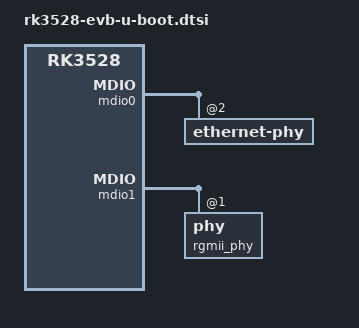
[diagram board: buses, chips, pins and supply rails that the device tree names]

&otp {
	u-boot,dm-pre-reloc;
};

&macphy_bgs {
	u-boot,dm-pre-reloc;
};

&macphy_txlevel {
	u-boot,dm-pre-reloc;
};

&gmac0 {
	u-boot,dm-pre-reloc;
};

&mdio0 {
	u-boot,dm-pre-reloc;
	ethernet-phy@2 {
		u-boot,dm-pre-reloc;
	};
};

&gmac0_stmmac_axi_setup {
	u-boot,dm-pre-reloc;
};

&gmac0_mtl_rx_setup {
	u-boot,dm-pre-reloc;
	queue0 {
		u-boot,dm-pre-reloc;
	};
};

&gmac0_mtl_tx_setup {
	u-boot,dm-pre-reloc;
	queue0 {
		u-boot,dm-pre-reloc;
	};
};

&fephym0_led_link {
	u-boot,dm-pre-reloc;
};

&fephym0_led_spd {
	u-boot,dm-pre-reloc;
};

&gmac1 {
	u-boot,dm-pre-reloc;
};

&mdio1 {
	u-boot,dm-pre-reloc;
	rgmii_phy: phy@1 {
		u-boot,dm-pre-reloc;
	};
};

&rgmii_miim {
	u-boot,dm-pre-reloc;
};

&rgmii_tx_bus2 {
	u-boot,dm-pre-reloc;
};

&rgmii_rx_bus2 {
	u-boot,dm-pre-reloc;
};

&rgmii_rgmii_clk {
	u-boot,dm-pre-reloc;
};

&rgmii_rgmii_bus {
	u-boot,dm-pre-reloc;
};

&gmac1_stmmac_axi_setup {
	u-boot,dm-pre-reloc;
};

&gmac1_mtl_rx_setup {
	u-boot,dm-pre-reloc;
	queue0 {
		u-boot,dm-pre-reloc;
	};
};

&gmac1_mtl_tx_setup {
	u-boot,dm-pre-reloc;
	queue0 {
		u-boot,dm-pre-reloc;
	};
};
